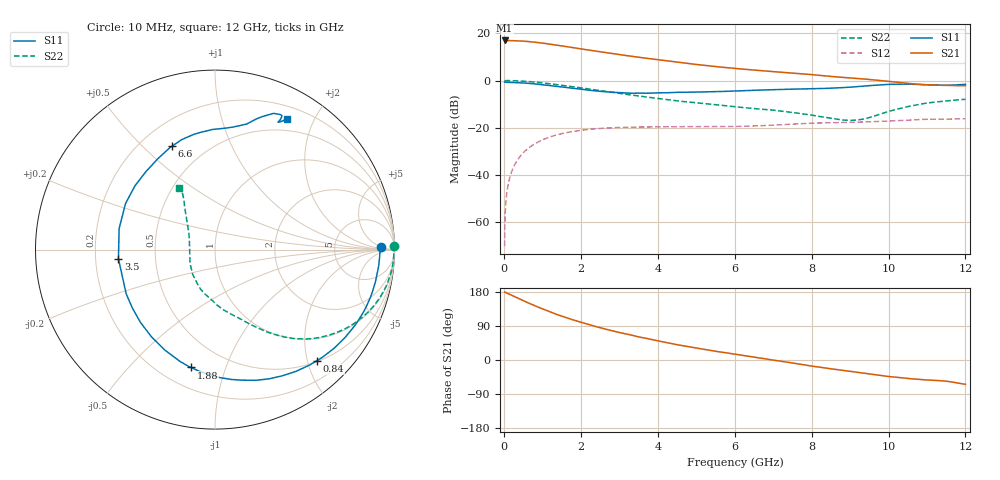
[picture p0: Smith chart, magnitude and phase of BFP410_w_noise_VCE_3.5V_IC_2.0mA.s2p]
! Infineon Technologies  Discrete & RF Semiconductors
! BFP410
! VCE =  3.5 V,  IC =  2.0 mA
! Common Emitter S-Parameters:  Nov 2015
# GHz  S  MA  R  50
!  f  S11  S21  S12  S22
! GHz  MAG  ANG  MAG  ANG  MAG  ANG  MAG  ANG
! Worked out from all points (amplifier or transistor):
!   243 points, 10 MHz to 12 GHz, reference 50 ohm
!   highest |S21| = 17.0 dB at 10 MHz (marker M1)
!   |S21| within 3 dB of that: start of sweep to 1.766 GHz
!   unconditionally stable (mu >= 1): 4.089 GHz to end of sweep
!   at 240 MHz: K = 0.05, MSG = 26.9 dB, |S12| = -36.9 dB
!   at 1.84 GHz: K = 0.38, MSG = 17.7 dB, |S12| = -21.5 dB
!   at 12 GHz: K = 1.14, MAG = 4.8 dB, |S12| = -16.3 dB
!   lowest NFmin = 0.82 dB at 900 MHz
!   S11 on the Smith chart (normalised r, x): 10 MHz: 25, +6; 840 MHz: 0.52, -2.17; 1.88 GHz: 0.32, -0.76; 3.5 GHz: 0.30, -0.04; 6.6 GHz: 0.33, +0.62; 12 GHz: 0.36, +1.63
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0.01  0.9265 1.0  7.105 179.3  0.0003 -18.9  1 1.1
0.02  0.9196 -0.5  7.059 179.1  0.0012 82.3  0.9902 0.3
0.045  0.9182 -2.2  7.042 177.5  0.0027 85.1  0.9958 -0.7
0.165  0.9125 -9.2  7.058 172.2  0.0098 84.0  0.9946 -4.4
0.48  0.8887 -27.2  6.888 157.5  0.0282 75.2  0.9698 -13.3
0.66  0.8656 -37.5  6.699 149.2  0.038 69.8  0.9462 -18.1
0.84  0.8397 -47.5  6.457 141.4  0.0473 64.6  0.9176 -22.7
1.08  0.7999 -60.8  6.105 131.4  0.0585 57.9  0.8734 -28.4
1.3  0.7632 -72.6  5.767 122.8  0.0675 52.1  0.8304 -33.2
1.6  0.7133 -88.0  5.29 112.0  0.0773 44.9  0.7707 -39.1
1.88  0.6702 -101.6  4.87 103.0  0.0847 39.0  0.7189 -43.8
2.02  0.6499 -108.1  4.67 98.8  0.0878 36.3  0.6939 -45.8
2.64  0.576 -137.5  3.921 81.3  0.0974 25.4  0.5845 -54.4
3.5  0.5404 -174.5  3.126 60.9  0.1024 14.6  0.4677 -64.1
4.1  0.5467 164.6  2.706 48.5  0.1039 9.5  0.4049 -70.8
5  0.5704 141.3  2.193 31.3  0.1045 3.8  0.335 -82.9
6.1  0.6015 120.5  1.777 13.8  0.1056 0.4  0.2716 -96.3
6.6  0.6236 112.6  1.641 6.0  0.1086 -0.4  0.2491 -104.3
8.2  0.674 87.7  1.286 -18.8  0.1249 -7.2  0.172 -139.6
9.2  0.7435 74.0  1.1 -32.4  0.1304 -11.9  0.1446 169.5
10.2  0.8311 65.4  0.922 -45.5  0.1397 -15.8  0.2431 131.3
12  0.8274 61.2  0.778 -64.2  0.1537 -28.6  0.3989 120.6
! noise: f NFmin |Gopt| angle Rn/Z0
0.45  0.86  0.5  7  0.29
0.9  0.82  0.48  21  0.27
1.8  1.05  0.37  55  0.23
2.4  1.09  0.36  63  0.19
5.5  2.24  0.36  -145  0.21
10  3.98  0.7  -56  2.38
